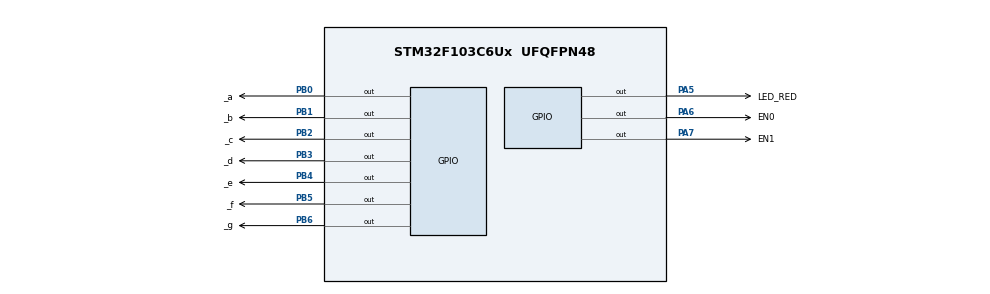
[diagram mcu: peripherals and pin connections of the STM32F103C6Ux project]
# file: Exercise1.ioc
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Mcu.Family=STM32F1
Mcu.Name=STM32F103C6Ux
Mcu.Package=UFQFPN48
NVIC.PriorityGroup=NVIC_PRIORITYGROUP_4
NVIC.TIM2_IRQn=true\:0\:0\:false\:false\:true\:true\:true\:true
PA5.GPIO_Label=LED_RED
PA5.Signal=GPIO_Output
PA6.GPIO_Label=EN0
PA6.Signal=GPIO_Output
PA7.GPIO_Label=EN1
PA7.Signal=GPIO_Output
PB0.GPIO_Label=_a
PB0.Signal=GPIO_Output
PB1.GPIO_Label=_b
PB1.Signal=GPIO_Output
PB2.GPIO_Label=_c
PB2.Signal=GPIO_Output
PB3.GPIO_Label=_d
PB3.Signal=GPIO_Output
PB4.GPIO_Label=_e
PB4.Signal=GPIO_Output
PB5.GPIO_Label=_f
PB5.Signal=GPIO_Output
PB6.GPIO_Label=_g
PB6.Signal=GPIO_Output
ProjectManager.HeapSize=0x200
ProjectManager.StackSize=0x400
ProjectManager.TargetToolchain=STM32CubeIDE
RCC.APB1Freq_Value=8000000
RCC.APB2Freq_Value=8000000
TIM2.Period=9
TIM2.Prescaler=7999
VP_TIM2_VS_ClockSourceINT.Mode=Internal
board=custom

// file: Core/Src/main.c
/* USER CODE BEGIN Header */
/**
  ******************************************************************************
  * @file           : main.c
  * @brief          : Main program body
  ******************************************************************************
  * @attention
  *
  * Copyright (c) 2022 STMicroelectronics.
  * All rights reserved.
  *
  * This software is licensed under terms that can be found in the LICENSE file
  * in the root directory of this software component.
  * If no LICENSE file comes with this software, it is provided AS-IS.
  *
  ******************************************************************************
  */
/* USER CODE END Header */
#include "main.h"

/* USER CODE BEGIN Includes */
#include "software_timer.h"
/* USER CODE END Includes */

TIM_HandleTypeDef htim2;

void SystemClock_Config(void);
static void MX_GPIO_Init(void);
static void MX_TIM2_Init(void);

/* USER CODE BEGIN 0 */
void display7SEG (int num, GPIO_TypeDef * GPIO_TYPE, uint16_t a_Pin, uint16_t b_Pin, uint16_t c_Pin, uint16_t d_Pin, uint16_t e_Pin, uint16_t f_Pin, uint16_t g_Pin){
	switch (num){
		case 0:
			HAL_GPIO_WritePin(GPIO_TYPE, a_Pin, RESET);
			HAL_GPIO_WritePin(GPIO_TYPE, b_Pin, RESET);
			HAL_GPIO_WritePin(GPIO_TYPE, c_Pin, RESET);
			HAL_GPIO_WritePin(GPIO_TYPE, d_Pin, RESET);
			HAL_GPIO_WritePin(GPIO_TYPE, e_Pin, RESET);
			HAL_GPIO_WritePin(GPIO_TYPE, f_Pin, RESET);
			HAL_GPIO_WritePin(GPIO_TYPE, g_Pin, SET);
			break;
		case 1:
			HAL_GPIO_WritePin(GPIO_TYPE, a_Pin, SET);
			HAL_GPIO_WritePin(GPIO_TYPE, b_Pin, RESET);
			HAL_GPIO_WritePin(GPIO_TYPE, c_Pin, RESET);
			HAL_GPIO_WritePin(GPIO_TYPE, d_Pin, SET);
			HAL_GPIO_WritePin(GPIO_TYPE, e_Pin, SET);
			HAL_GPIO_WritePin(GPIO_TYPE, f_Pin, SET);
			HAL_GPIO_WritePin(GPIO_TYPE, g_Pin, SET);
			break;
		case 2:
			HAL_GPIO_WritePin(GPIO_TYPE, a_Pin, RESET);
			HAL_GPIO_WritePin(GPIO_TYPE, b_Pin, RESET);
			HAL_GPIO_WritePin(GPIO_TYPE, c_Pin, SET);
			HAL_GPIO_WritePin(GPIO_TYPE, d_Pin, RESET);
			HAL_GPIO_WritePin(GPIO_TYPE, e_Pin, RESET);
			HAL_GPIO_WritePin(GPIO_TYPE, f_Pin, SET);
			HAL_GPIO_WritePin(GPIO_TYPE, g_Pin, RESET);
			break;
		case 3:
			HAL_GPIO_WritePin(GPIO_TYPE, a_Pin, RESET);
			HAL_GPIO_WritePin(GPIO_TYPE, b_Pin, RESET);
			HAL_GPIO_WritePin(GPIO_TYPE, c_Pin, RESET);
			HAL_GPIO_WritePin(GPIO_TYPE, d_Pin, RESET);
			HAL_GPIO_WritePin(GPIO_TYPE, e_Pin, SET);
			HAL_GPIO_WritePin(GPIO_TYPE, f_Pin, SET);
			HAL_GPIO_WritePin(GPIO_TYPE, g_Pin, RESET);
			break;
		case 4:
			HAL_GPIO_WritePin(GPIO_TYPE, a_Pin, SET);
			HAL_GPIO_WritePin(GPIO_TYPE, b_Pin, RESET);
			HAL_GPIO_WritePin(GPIO_TYPE, c_Pin, RESET);
			HAL_GPIO_WritePin(GPIO_TYPE, d_Pin, SET);
			HAL_GPIO_WritePin(GPIO_TYPE, e_Pin, SET);
			HAL_GPIO_WritePin(GPIO_TYPE, f_Pin, RESET);
			HAL_GPIO_WritePin(GPIO_TYPE, g_Pin, RESET);
			break;
		case 5:
			HAL_GPIO_WritePin(GPIO_TYPE, a_Pin, RESET);
			HAL_GPIO_WritePin(GPIO_TYPE, b_Pin, SET);
			HAL_GPIO_WritePin(GPIO_TYPE, c_Pin, RESET);
			HAL_GPIO_WritePin(GPIO_TYPE, d_Pin, RESET);
			HAL_GPIO_WritePin(GPIO_TYPE, e_Pin, SET);
			HAL_GPIO_WritePin(GPIO_TYPE, f_Pin, RESET);
			HAL_GPIO_WritePin(GPIO_TYPE, g_Pin, RESET);
			break;
		case 6:
			HAL_GPIO_WritePin(GPIO_TYPE, a_Pin, RESET);
			HAL_GPIO_WritePin(GPIO_TYPE, b_Pin, SET);
			HAL_GPIO_WritePin(GPIO_TYPE, c_Pin, RESET);
			HAL_GPIO_WritePin(GPIO_TYPE, d_Pin, RESET);
			HAL_GPIO_WritePin(GPIO_TYPE, e_Pin, RESET);
			HAL_GPIO_WritePin(GPIO_TYPE, f_Pin, RESET);
			HAL_GPIO_WritePin(GPIO_TYPE, g_Pin, RESET);
			break;
		case 7:
			HAL_GPIO_WritePin(GPIO_TYPE, a_Pin, RESET);
			HAL_GPIO_WritePin(GPIO_TYPE, b_Pin, RESET);
			HAL_GPIO_WritePin(GPIO_TYPE, c_Pin, RESET);
			HAL_GPIO_WritePin(GPIO_TYPE, d_Pin, SET);
			HAL_GPIO_WritePin(GPIO_TYPE, e_Pin, SET);
			HAL_GPIO_WritePin(GPIO_TYPE, f_Pin, SET);
			HAL_GPIO_WritePin(GPIO_TYPE, g_Pin, SET);
			break;
		case 8:
			HAL_GPIO_WritePin(GPIO_TYPE, a_Pin, RESET);
			HAL_GPIO_WritePin(GPIO_TYPE, b_Pin, RESET);
			HAL_GPIO_WritePin(GPIO_TYPE, c_Pin, RESET);
			HAL_GPIO_WritePin(GPIO_TYPE, d_Pin, RESET);
			HAL_GPIO_WritePin(GPIO_TYPE, e_Pin, RESET);
			HAL_GPIO_WritePin(GPIO_TYPE, f_Pin, RESET);
			HAL_GPIO_WritePin(GPIO_TYPE, g_Pin, RESET);
			break;
		case 9:
			HAL_GPIO_WritePin(GPIO_TYPE, a_Pin, RESET);
			HAL_GPIO_WritePin(GPIO_TYPE, b_Pin, RESET);
			HAL_GPIO_WritePin(GPIO_TYPE, c_Pin, RESET);
			HAL_GPIO_WritePin(GPIO_TYPE, d_Pin, RESET);
			HAL_GPIO_WritePin(GPIO_TYPE, e_Pin, SET);
			HAL_GPIO_WritePin(GPIO_TYPE, f_Pin, RESET);
			HAL_GPIO_WritePin(GPIO_TYPE, g_Pin, RESET);
			break;
		default:
			break;
	}
}
/* USER CODE END 0 */

int main(void)
{

  /* MCU Configuration--------------------------------------------------------*/

  /* Reset of all peripherals, Initializes the Flash interface and the Systick. */
  HAL_Init();

  /* Configure the system clock */
  SystemClock_Config();

  /* Initialize all configured peripherals */
  MX_GPIO_Init();
  MX_TIM2_Init();
  /* USER CODE BEGIN 2 */
  HAL_TIM_Base_Start_IT (& htim2 );
  /* USER CODE END 2 */

  /* Infinite loop */
  /* USER CODE BEGIN WHILE */
  setTimer1(100);
  setTimer2(50);
  int status = 1;
  while (1)
  {
	  if(timer1_flag == 1) {
		  setTimer1(100);
		  HAL_GPIO_TogglePin(LED_RED_GPIO_Port, LED_RED_Pin);
	  }
	  if(timer2_flag == 1) {
		  setTimer2(50);
		  if(status == 1) {
			  HAL_GPIO_WritePin(EN0_GPIO_Port, EN0_Pin, RESET);
			  HAL_GPIO_WritePin(EN1_GPIO_Port, EN1_Pin, SET);
			  display7SEG(1, GPIOB, _a_Pin, _b_Pin, _c_Pin, _d_Pin, _e_Pin, _f_Pin, _g_Pin);
			  status = 2;
		  }
		  else {
			  HAL_GPIO_WritePin(EN0_GPIO_Port, EN0_Pin, SET);
			  HAL_GPIO_WritePin(EN1_GPIO_Port, EN1_Pin, RESET);
			  display7SEG(2, GPIOB, _a_Pin, _b_Pin, _c_Pin, _d_Pin, _e_Pin, _f_Pin, _g_Pin);
			  status = 1;
		  }
	  }
    /* USER CODE END WHILE */

  }
}

void SystemClock_Config(void)
{
  RCC_OscInitTypeDef RCC_OscInitStruct = {0};
  RCC_ClkInitTypeDef RCC_ClkInitStruct = {0};

  /** Initializes the RCC Oscillators according to the specified parameters
  * in the RCC_OscInitTypeDef structure.
  */
  RCC_OscInitStruct.OscillatorType = RCC_OSCILLATORTYPE_HSI;
  RCC_OscInitStruct.HSIState = RCC_HSI_ON;
  RCC_OscInitStruct.HSICalibrationValue = RCC_HSICALIBRATION_DEFAULT;
  RCC_OscInitStruct.PLL.PLLState = RCC_PLL_NONE;
  if (HAL_RCC_OscConfig(&RCC_OscInitStruct) != HAL_OK)
  {
    Error_Handler();
  }

  /** Initializes the CPU, AHB and APB buses clocks
  */
  RCC_ClkInitStruct.ClockType = RCC_CLOCKTYPE_HCLK|RCC_CLOCKTYPE_SYSCLK
                              |RCC_CLOCKTYPE_PCLK1|RCC_CLOCKTYPE_PCLK2;
  RCC_ClkInitStruct.SYSCLKSource = RCC_SYSCLKSOURCE_HSI;
  RCC_ClkInitStruct.AHBCLKDivider = RCC_SYSCLK_DIV1;
  RCC_ClkInitStruct.APB1CLKDivider = RCC_HCLK_DIV1;
  RCC_ClkInitStruct.APB2CLKDivider = RCC_HCLK_DIV1;

  if (HAL_RCC_ClockConfig(&RCC_ClkInitStruct, FLASH_LATENCY_0) != HAL_OK)
  {
    Error_Handler();
  }
}

static void MX_TIM2_Init(void)
{

  TIM_ClockConfigTypeDef sClockSourceConfig = {0};
  TIM_MasterConfigTypeDef sMasterConfig = {0};

  htim2.Instance = TIM2;
  htim2.Init.Prescaler = 7999;
  htim2.Init.CounterMode = TIM_COUNTERMODE_UP;
  htim2.Init.Period = 9;
  htim2.Init.ClockDivision = TIM_CLOCKDIVISION_DIV1;
  htim2.Init.AutoReloadPreload = TIM_AUTORELOAD_PRELOAD_DISABLE;
  if (HAL_TIM_Base_Init(&htim2) != HAL_OK)
  {
    Error_Handler();
  }
  sClockSourceConfig.ClockSource = TIM_CLOCKSOURCE_INTERNAL;
  if (HAL_TIM_ConfigClockSource(&htim2, &sClockSourceConfig) != HAL_OK)
  {
    Error_Handler();
  }
  sMasterConfig.MasterOutputTrigger = TIM_TRGO_RESET;
  sMasterConfig.MasterSlaveMode = TIM_MASTERSLAVEMODE_DISABLE;
  if (HAL_TIMEx_MasterConfigSynchronization(&htim2, &sMasterConfig) != HAL_OK)
  {
    Error_Handler();
  }

}

static void MX_GPIO_Init(void)
{
  GPIO_InitTypeDef GPIO_InitStruct = {0};

  /* GPIO Ports Clock Enable */
  __HAL_RCC_GPIOA_CLK_ENABLE();
  __HAL_RCC_GPIOB_CLK_ENABLE();

  /*Configure GPIO pin Output Level */
  HAL_GPIO_WritePin(GPIOA, LED_RED_Pin|EN0_Pin|EN1_Pin, GPIO_PIN_RESET);

  /*Configure GPIO pin Output Level */
  HAL_GPIO_WritePin(GPIOB, _a_Pin|_b_Pin|_c_Pin|_d_Pin
                          |_e_Pin|_f_Pin|_g_Pin, GPIO_PIN_RESET);

  /*Configure GPIO pins : LED_RED_Pin EN0_Pin EN1_Pin */
  GPIO_InitStruct.Pin = LED_RED_Pin|EN0_Pin|EN1_Pin;
  GPIO_InitStruct.Mode = GPIO_MODE_OUTPUT_PP;
  GPIO_InitStruct.Pull = GPIO_NOPULL;
  GPIO_InitStruct.Speed = GPIO_SPEED_FREQ_LOW;
  HAL_GPIO_Init(GPIOA, &GPIO_InitStruct);

  /*Configure GPIO pins : _a_Pin _b_Pin _c_Pin _d_Pin
                           _e_Pin _f_Pin _g_Pin */
  GPIO_InitStruct.Pin = _a_Pin|_b_Pin|_c_Pin|_d_Pin
                          |_e_Pin|_f_Pin|_g_Pin;
  GPIO_InitStruct.Mode = GPIO_MODE_OUTPUT_PP;
  GPIO_InitStruct.Pull = GPIO_NOPULL;
  GPIO_InitStruct.Speed = GPIO_SPEED_FREQ_LOW;
  HAL_GPIO_Init(GPIOB, &GPIO_InitStruct);

}

/* USER CODE BEGIN 4 */
void HAL_TIM_PeriodElapsedCallback(TIM_HandleTypeDef *htim) {
	timerRun();
}
/* USER CODE END 4 */

void Error_Handler(void)
{
  __disable_irq();
  while (1)
  {
  }
}
